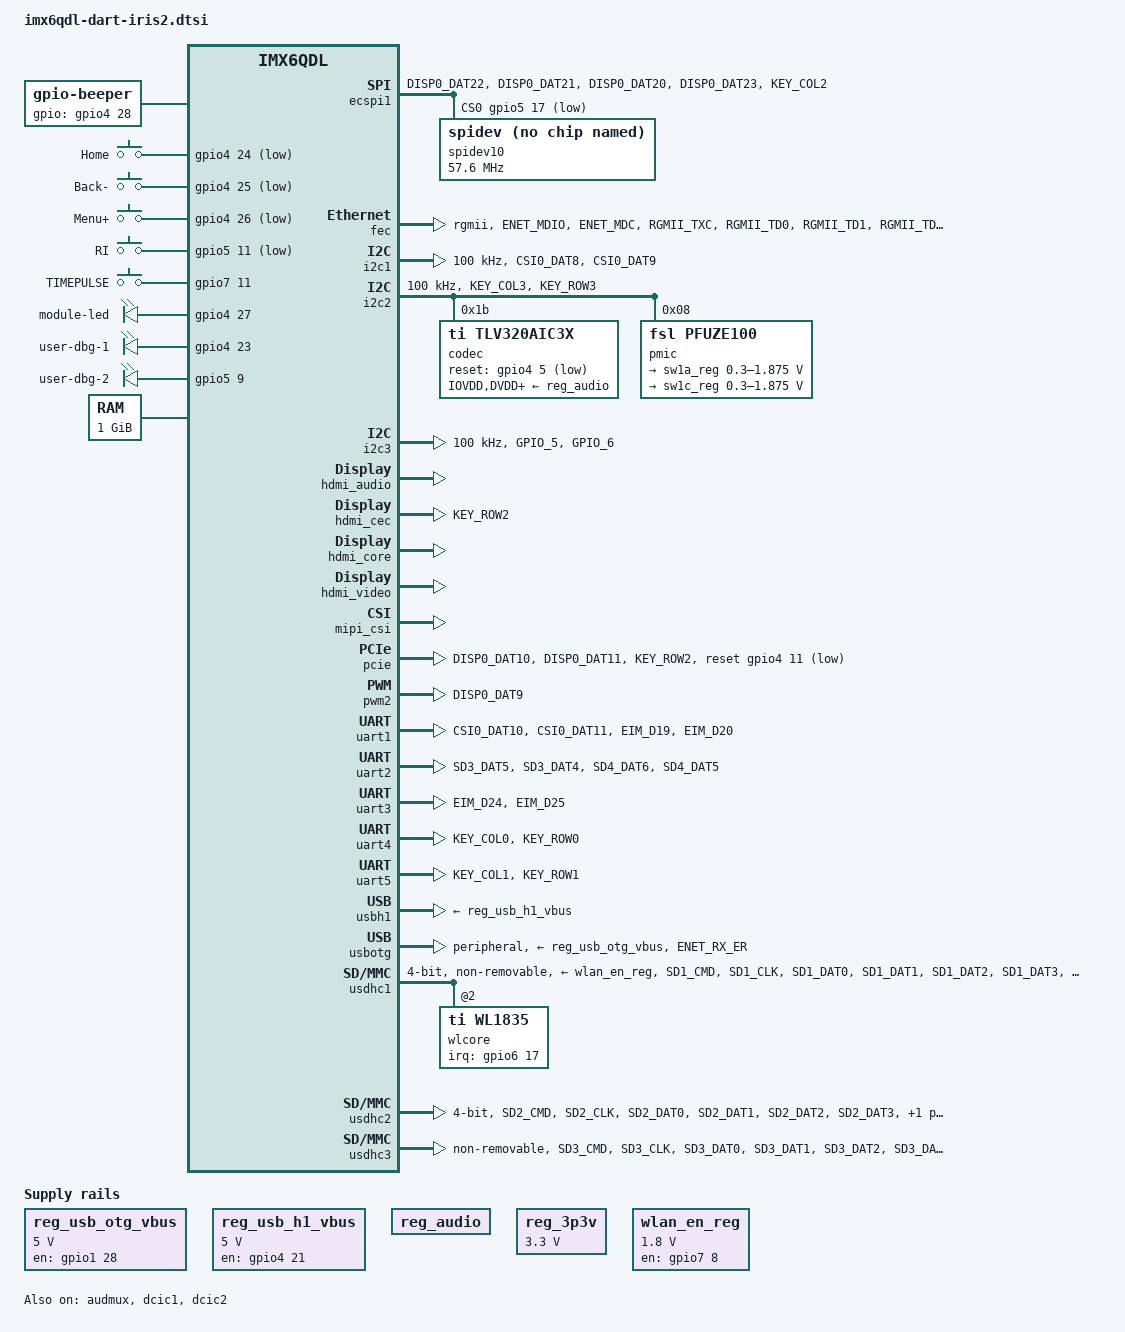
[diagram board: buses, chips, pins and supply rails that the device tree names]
/*
 * Copyright (C) 2015-2017 Variscite Ltd.
 * Copyright (C) 2015-2017 Voipac.
 *
 * The code contained herein is licensed under the GNU General Public
 * License. You may obtain a copy of the GNU General Public License
 * Version 2 or later at the following locations:
 *
 * http://www.opensource.org/licenses/gpl-license.html
 * http://www.gnu.org/copyleft/gpl.html
 */

#include <dt-bindings/gpio/gpio.h>
#include <dt-bindings/input/input.h>

/ {
	aliases {
		mxcfb0 = &mxcfb1;
		mxcfb1 = &mxcfb2;
		mxcfb2 = &mxcfb3;
		mxcfb3 = &mxcfb4;
	};

	chosen {
		stdout-path = &uart1;
	};

	gpio-beeper: {
		compatible = "gpio-beeper";
		pinctrl-names = "default";
		pinctrl-0 = <&pinctrl_gpio_beeper>;
		gpios = <&gpio4 28 GPIO_ACTIVE_HIGH>;
	};

	gpio-keys {
		compatible = "gpio-keys";
		pinctrl-names = "default";
		pinctrl-0 = <&pinctrl_gpio_keys>;

		home {
			label = "Home";
			gpios = <&gpio4 24 GPIO_ACTIVE_LOW>;
			gpio-key,wakeup;
			linux,code = <KEY_HOME>;
		};

		back {
			label = "Back-";
			gpios = <&gpio4 25 GPIO_ACTIVE_LOW>;
			linux,code = <KEY_BACK>;
		};

		menu {
			label = "Menu+";
			gpios = <&gpio4 26 GPIO_ACTIVE_LOW>;
			linux,code = <KEY_MENU>;
		};

		irid_ring {
			label = "RI";
			gpios = <&gpio5 11 GPIO_ACTIVE_LOW>;
			gpio-key,wakeup;
			linux,code = <KEY_PROG1>;
		};

		timepulse {
			label = "TIMEPULSE";
			gpios = <&gpio7 11 GPIO_ACTIVE_HIGH>;
			linux,code = <KEY_TIME>;
		};
	};

	leds {
		compatible = "gpio-leds";
		pinctrl-names = "default";
		pinctrl-0 = <&pinctrl_leds>;

		module-led {
			gpios = <&gpio4 27 GPIO_ACTIVE_HIGH>;
			linux,default-trigger = "heartbeat";
			retain-state-suspended;
		};

		user-dbg-1 {
			gpios = <&gpio4 23 GPIO_ACTIVE_HIGH>;
		};
		user-dbg-2 {
			gpios = <&gpio5 9 GPIO_ACTIVE_HIGH>;
		};
	};

	memory {
		reg = <0x10000000 0x40000000>;
	};

	mxcfb1: fb@0 {
		compatible = "fsl,mxc_sdc_fb";
		disp_dev = "ldb";
		default_bpp = <16>;
		int_clk = <0>;
		late_init = <0>;
		status = "disabled";
	};

	mxcfb2: fb@1 {
		compatible = "fsl,mxc_sdc_fb";
		disp_dev = "hdmi";
		interface_pix_fmt = "RGB24";
		mode_str ="1920x1080M@60";
		default_bpp = <24>;
		int_clk = <0>;
		late_init = <0>;
		status = "disabled";
	};

	mxcfb3: fb@2 {
		compatible = "fsl,mxc_sdc_fb";
		disp_dev = "lcd";
		interface_pix_fmt = "RGB565";
		mode_str ="CLAA-WVGA";
		default_bpp = <16>;
		int_clk = <0>;
		late_init = <0>;
		status = "disabled";
	};

	mxcfb4: fb@3 {
		compatible = "fsl,mxc_sdc_fb";
		disp_dev = "ldb";
		interface_pix_fmt = "RGB666";
		default_bpp = <16>;
		int_clk = <0>;
		late_init = <0>;
		status = "disabled";
	};

	regulators {
		compatible = "simple-bus";
		#address-cells = <1>;
		#size-cells = <0>;

		reg_usb_otg_vbus: regulator@0 {
			compatible = "regulator-fixed";
			reg = <0>;
			regulator-name = "usb_otg_vbus";
			regulator-min-microvolt = <5000000>;
			regulator-max-microvolt = <5000000>;
			regulator-always-on;
			gpio = <&gpio1 28 0>;    /* USB_ETH_PWR_EN; high=+3.3V USB supply on (req'd for Ethernet, USB, peripherals) */
			enable-active-high;

			regulator-state-mem {
				regulator-off-in-suspend;
			};
		};

		reg_usb_h1_vbus: regulator@1 {
			compatible = "regulator-fixed";
			reg = <1>;
			regulator-name = "usb_h1_vbus";
			regulator-min-microvolt = <5000000>;
			regulator-max-microvolt = <5000000>;
			regulator-always-on;
			gpio = <&gpio4 21 0>;    /* 5V_DISABLE; high=+5V supply on (req'd for USB) */
			enable-active-high;

			regulator-state-mem {
				regulator-off-in-suspend;
			};
		};

		reg_audio: regulator@2 {
			compatible = "regulator-fixed";
			reg = <2>;
			regulator-name = "tlv320aic3x-supply";
			enable-active-high;
		};

		reg_3p3v: regulator@3 {
			compatible = "regulator-fixed";
			reg = <3>;
			regulator-name = "3P3V";
			regulator-min-microvolt = <3300000>;
			regulator-max-microvolt = <3300000>;
			regulator-always-on;
		};
	};

	wlan_en_reg: fixedregulator@2 {
		compatible = "regulator-fixed";
		regulator-name = "wlan-en-regulator";
		regulator-min-microvolt = <1800000>;
		regulator-max-microvolt = <1800000>;

		/* WLAN_EN GPIO for this board - Bank5, pin13 */
		gpio = <&gpio7 8 0>;

		/* WLAN card specific delay */
		startup-delay-us = <70000>;
		enable-active-high;
	};

	sound-hdmi {
		compatible = "fsl,imx6q-audio-hdmi",
			     "fsl,imx-audio-hdmi";
		model = "imx-audio-hdmi";
		hdmi-controller = <&hdmi_audio>;
	};

	sound-tlv320aic3x {
		compatible = "fsl,imx-audio-tlv320aic3x";
		model = "tlv320aic3x-audio";
		ssi-controller = <&ssi2>;
		audio-codec = <&codec>;
		audio-routing =
			"Headphone Jack",	"HPLOUT",
			"Headphone Jack",	"HPROUT",
			"Line In Jack",		"LINE1L",
			"Line In Jack",		"LINE1R",
			"Mic Jack",		"DMIC";
		mux-int-port = <2>;
		mux-ext-port = <3>;
	};

	v4l2_cap_0 {
		compatible = "fsl,imx6q-v4l2-capture";
		ipu_id = <0>;
		csi_id = <1>;
		mclk_source = <0>;
		mipi_camera = <1>;
		default_input = <1>;
		status = "okay";
	};

	v4l2_out {
		compatible = "fsl,mxc_v4l2_output";
		status = "okay";
	};
};

&audmux {
	pinctrl-names = "default";
	pinctrl-0 = <&pinctrl_audmux>;
	status = "okay";
};

&ecspi1 {
	fsl,spi-num-chipselects = <2>;
	cs-gpios = <&gpio5 17 GPIO_ACTIVE_LOW>, <&gpio4 10 GPIO_ACTIVE_LOW>;
	pinctrl-names = "default";
	pinctrl-0 = <&pinctrl_ecspi1>;
	status = "okay";

	spidev10: spi@0 {
		compatible = "spidev";
		spi-max-frequency = <57600000>;
		reg = <0>;
	};
};

&fec {
	pinctrl-names = "default";
	pinctrl-0 = <&pinctrl_enet>;
	phy-mode = "rgmii";
	phy-reset-gpios = <&gpio1 25 GPIO_ACTIVE_LOW>;
	fsl,magic-packet;
	status = "okay";
};

&i2c1 {
	clock-frequency = <100000>;
	pinctrl-names = "default";
	pinctrl-0 = <&pinctrl_i2c1>;
	status = "okay";
};

&i2c2 {
	clock-frequency = <100000>;
	pinctrl-names = "default";
	pinctrl-0 = <&pinctrl_i2c2>;
	status = "okay";

	codec: tlv320aic3x@1b {
		compatible = "ti,tlv320aic3x";
		reg = <0x1b>;
		clocks = <&clks 201>;
		clock-names = "clko_clk";
		IOVDD-supply = <&reg_audio>;
		DVDD-supply = <&reg_audio>;
		AVDD-supply = <&reg_audio>;
		DRVDD-supply = <&reg_audio>;
		gpio-reset = <&gpio4 5 1>;
		ai3x-gpio-func = <
			0 /* AIC3X_GPIO1_FUNC_DISABLED */
			5 /* AIC3X_GPIO2_FUNC_DIGITAL_MIC_INPUT */
		>;
	};

	pmic: pfuze100@08 {
		compatible = "fsl,pfuze100";
		reg = <0x08>;

		regulators {
			sw1a_reg: sw1ab {
				regulator-min-microvolt = <300000>;
				regulator-max-microvolt = <1875000>;
				regulator-boot-on;
				regulator-always-on;
				regulator-ramp-delay = <6250>;
			};

			sw1c_reg: sw1c {
				regulator-min-microvolt = <300000>;
				regulator-max-microvolt = <1875000>;
				regulator-boot-on;
				regulator-always-on;
				regulator-ramp-delay = <6250>;
			};
		};
	};
};

&i2c3 {
	clock-frequency = <100000>;
	pinctrl-names = "default";
	pinctrl-0 = <&pinctrl_i2c3>;
	status = "okay";
};

&iomuxc {
	pinctrl-names = "default";
	pinctrl-0 = <&pinctrl_hog>;

	imx6qdl-dart-iris2 {

		pinctrl_hog: hoggrp {
			fsl,pins = <
				/* PMIC INT */
				MX6QDL_PAD_GPIO_17__GPIO7_IO12		0x80000000
				/* for Bluetooth/wifi enable */
				MX6QDL_PAD_SD3_DAT6__GPIO6_IO18		0x0001b0b1
				/* Wifi Slow Clock */
				MX6QDL_PAD_ENET_RXD0__OSC32K_32K_OUT	0x000000b0
				/* Audio Clock */
				MX6QDL_PAD_GPIO_0__CCM_CLKO1		0x000130b0
				/* Camera Clock */
				MX6QDL_PAD_GPIO_3__CCM_CLKO2		0x000130b0
				/* R0+rework for MDIO (disable ECSPI1 pins)
				MX6QDL_PAD_DISP0_DAT20__GPIO5_IO14	0x0001b0b1
				MX6QDL_PAD_DISP0_DAT21__GPIO5_IO15	0x0001b0b1
				MX6QDL_PAD_DISP0_DAT22__GPIO5_IO16	0x0001b0b1
				MX6QDL_PAD_DISP0_DAT23__GPIO5_IO17	0x0001b0b1 */
			>;
		};

		pinctrl_audmux: audmuxgrp {
			fsl,pins = <
				MX6QDL_PAD_CSI0_DAT7__AUD3_RXD		0x000130b0
				MX6QDL_PAD_CSI0_DAT4__AUD3_TXC		0x000130b0
				MX6QDL_PAD_CSI0_DAT5__AUD3_TXD		0x000110b0
				MX6QDL_PAD_CSI0_DAT6__AUD3_TXFS		0x000130b0
			>;
		};

		pinctrl_ecspi1: ecspi1grp {
			fsl,pins = <
				MX6QDL_PAD_DISP0_DAT22__ECSPI1_MISO	0x000100b1
				MX6QDL_PAD_DISP0_DAT21__ECSPI1_MOSI	0x000100b1
				MX6QDL_PAD_DISP0_DAT20__ECSPI1_SCLK	0x000100b1
				MX6QDL_PAD_DISP0_DAT23__ECSPI1_SS0	0x80000000 /* CS0 */
				MX6QDL_PAD_KEY_COL2__ECSPI1_SS1 	0x80000000 /* CS1 (N/C on Iris2) */
			>;
		};

		pinctrl_enet: enetgrp {
			fsl,pins = <
				MX6QDL_PAD_ENET_MDIO__ENET_MDIO		0x0001b0b0
				MX6QDL_PAD_ENET_MDC__ENET_MDC		0x0001b0b0
				MX6QDL_PAD_RGMII_TXC__RGMII_TXC		0x0001b0b0
				MX6QDL_PAD_RGMII_TD0__RGMII_TD0		0x0001b0b0
				MX6QDL_PAD_RGMII_TD1__RGMII_TD1		0x0001b0b0
				MX6QDL_PAD_RGMII_TD2__RGMII_TD2		0x0001b0b0
				MX6QDL_PAD_RGMII_TD3__RGMII_TD3		0x0001b0b0
				MX6QDL_PAD_RGMII_TX_CTL__RGMII_TX_CTL	0x0001b0b0
				MX6QDL_PAD_ENET_REF_CLK__ENET_TX_CLK	0x0001b0b0
				MX6QDL_PAD_RGMII_RXC__RGMII_RXC		0x0001b0b0
				MX6QDL_PAD_RGMII_RD0__RGMII_RD0		0x0001b0b0
				MX6QDL_PAD_RGMII_RD1__RGMII_RD1		0x0001b0b0
				MX6QDL_PAD_RGMII_RD2__RGMII_RD2		0x0001b0b0
				MX6QDL_PAD_RGMII_RD3__RGMII_RD3		0x0001b0b0
				MX6QDL_PAD_RGMII_RX_CTL__RGMII_RX_CTL	0x0001b0b0
				MX6QDL_PAD_ENET_CRS_DV__GPIO1_IO25	0x00000831 /* PHY Reset */
			>;
		};

		pinctrl_gpio_beeper: gpio_beepergrp {
			fsl,pins = <
				MX6QDL_PAD_DISP0_DAT07__GPIO4_IO28	0x0001b0b0
			>;
		};

		pinctrl_gpio_keys: gpio_keysgrp {
			fsl,pins = <
				MX6QDL_PAD_DISP0_DAT03__GPIO4_IO24	0x0001b0b0
				MX6QDL_PAD_DISP0_DAT04__GPIO4_IO25	0x0001b0b0
				MX6QDL_PAD_DISP0_DAT05__GPIO4_IO26	0x0001b0b0
				MX6QDL_PAD_DISP0_DAT17__GPIO5_IO11	0x0001b0b0
				MX6QDL_PAD_GPIO_16__ENET_1588_EVENT2_IN	0x0001b0b0
			>;
		};

		pinctrl_hdmi_cec: hdmi_cecgrp {
			fsl,pins = <
				MX6QDL_PAD_KEY_ROW2__HDMI_TX_CEC_LINE	0x0001f8b0
			>;
		};

		pinctrl_hdmi_hdcp: hdmi_hdcpgrp {
			fsl,pins = <
				MX6QDL_PAD_KEY_COL3__HDMI_TX_DDC_SCL	0x4001b8b1
				MX6QDL_PAD_KEY_ROW3__HDMI_TX_DDC_SDA	0x4001b8b1
			>;
		};

		pinctrl_i2c1: i2c1grp {
			fsl,pins = <
				MX6QDL_PAD_CSI0_DAT8__I2C1_SDA		0x4001b8b1
				MX6QDL_PAD_CSI0_DAT9__I2C1_SCL		0x4001b8b1
			>;
		};

		pinctrl_i2c2: i2c2grp {
			fsl,pins = <
				MX6QDL_PAD_KEY_COL3__I2C2_SCL		0x4001b8b1
				MX6QDL_PAD_KEY_ROW3__I2C2_SDA		0x4001b8b1
			>;
		};

		pinctrl_i2c3: i2c3grp {
			fsl,pins = <
				MX6QDL_PAD_GPIO_5__I2C3_SCL			0x4001b8b1
				MX6QDL_PAD_GPIO_6__I2C3_SDA         0x4001b8b1
			>;
		};

		pinctrl_ipu1_disp: ipu1_dispgrp {
			fsl,pins = <
				MX6QDL_PAD_DI0_DISP_CLK__IPU1_DI0_DISP_CLK	0x00000010
				MX6QDL_PAD_DI0_PIN15__IPU1_DI0_PIN15		0x00000010
				MX6QDL_PAD_DI0_PIN2__IPU1_DI0_PIN02		0x00000010
				MX6QDL_PAD_DI0_PIN3__IPU1_DI0_PIN03		0x00000010
				MX6QDL_PAD_DI0_PIN4__IPU1_DI0_PIN04		0x80000000
				MX6QDL_PAD_DISP0_DAT0__IPU1_DISP0_DATA00	0x00000010
				MX6QDL_PAD_DISP0_DAT1__IPU1_DISP0_DATA01	0x00000010
				MX6QDL_PAD_DISP0_DAT2__IPU1_DISP0_DATA02	0x00000010
				MX6QDL_PAD_DISP0_DAT3__IPU1_DISP0_DATA03	0x00000010
				MX6QDL_PAD_DISP0_DAT4__IPU1_DISP0_DATA04	0x00000010
				MX6QDL_PAD_DISP0_DAT5__IPU1_DISP0_DATA05	0x00000010
				MX6QDL_PAD_DISP0_DAT6__IPU1_DISP0_DATA06	0x00000010
				MX6QDL_PAD_DISP0_DAT7__IPU1_DISP0_DATA07	0x00000010
				MX6QDL_PAD_DISP0_DAT8__IPU1_DISP0_DATA08	0x00000010
				MX6QDL_PAD_DISP0_DAT9__IPU1_DISP0_DATA09	0x00000010
				MX6QDL_PAD_DISP0_DAT10__IPU1_DISP0_DATA10	0x00000010
				MX6QDL_PAD_DISP0_DAT11__IPU1_DISP0_DATA11	0x00000010
				MX6QDL_PAD_DISP0_DAT12__IPU1_DISP0_DATA12	0x00000010
				MX6QDL_PAD_DISP0_DAT13__IPU1_DISP0_DATA13	0x00000010
				MX6QDL_PAD_DISP0_DAT14__IPU1_DISP0_DATA14	0x00000010
				MX6QDL_PAD_DISP0_DAT15__IPU1_DISP0_DATA15	0x00000010
				MX6QDL_PAD_DISP0_DAT16__IPU1_DISP0_DATA16	0x00000010
				MX6QDL_PAD_DISP0_DAT17__IPU1_DISP0_DATA17	0x00000010
				MX6QDL_PAD_DISP0_DAT18__IPU1_DISP0_DATA18	0x00000010
				MX6QDL_PAD_DISP0_DAT19__IPU1_DISP0_DATA19	0x00000010
				MX6QDL_PAD_DISP0_DAT20__IPU1_DISP0_DATA20	0x00000010
				MX6QDL_PAD_DISP0_DAT21__IPU1_DISP0_DATA21	0x00000010
				MX6QDL_PAD_DISP0_DAT22__IPU1_DISP0_DATA22	0x00000010
				MX6QDL_PAD_DISP0_DAT23__IPU1_DISP0_DATA23	0x00000010
			>;
		};

		pinctrl_leds: ledsgrp {
			fsl,pins = <
				MX6QDL_PAD_DISP0_DAT06__GPIO4_IO27	0x00017059 /* Module LED */
				MX6QDL_PAD_DISP0_DAT02__GPIO4_IO23	0x00000831 /* DBG1 Open Drain Output */
				MX6QDL_PAD_DISP0_DAT15__GPIO5_IO09	0x00000831 /* DBG2 Open Drain Output */
			>;
		};

		pinctrl_ov5647_mipi: ov5647_mipigrp {
			fsl,pins = <
				MX6QDL_PAD_ENET_TX_EN__GPIO1_IO28	0x00017059 /* +3V3_USB Enable */
				MX6QDL_PAD_DISP0_DAT1__GPIO4_IO22	0x00013059 /* RPI Camera LED */
			>;
		};

		pinctrl_pcie: pciegrp {
			fsl,pins = <
				MX6QDL_PAD_DISP0_DAT10__IPU2_DISP0_DATA10  0x00017059 /* Wake */
				MX6QDL_PAD_DISP0_DAT11__IPU2_DISP0_DATA11  0x000030B1 /* Wdis */
				MX6QDL_PAD_KEY_ROW2__GPIO4_IO11            0x0000d038 /* Reset */
			>;
		};

		pinctrl_pwm2: pwm2grp {
			fsl,pins = <
				MX6QDL_PAD_DISP0_DAT9__PWM2_OUT		0x0001b0b1
			>;
		};

		/* Linux Console */
		pinctrl_uart1: uart1grp {
			fsl,pins = <
				MX6QDL_PAD_CSI0_DAT10__UART1_TX_DATA	0x0001b0b1
				MX6QDL_PAD_CSI0_DAT11__UART1_RX_DATA	0x0001b0b1
				MX6QDL_PAD_EIM_D19__UART1_CTS_B		0x0001b0b1
				MX6QDL_PAD_EIM_D20__UART1_RTS_B		0x0001b0b1
			>;
		};

		/* UART2 (Spare) */
		pinctrl_uart2: uart2grp {
			fsl,pins = <
				MX6QDL_PAD_GPIO_8__UART2_RX_DATA	0x0001b0b1
				MX6QDL_PAD_GPIO_7__UART2_TX_DATA	0x0001b0b1
			>;
		};

		/* Variscite Bluetooth */
		pinctrl_uart2_bt: uart2_btgrp {
			fsl,pins = <
				MX6QDL_PAD_SD3_DAT5__UART2_TX_DATA	0x0001b0b1
				MX6QDL_PAD_SD3_DAT4__UART2_RX_DATA	0x0001b0b1
				MX6QDL_PAD_SD4_DAT6__UART2_CTS_B	0x0001b0b1
				MX6QDL_PAD_SD4_DAT5__UART2_RTS_B	0x0001b0b1
			>;
		};

		pinctrl_uart3: uart3grp {
			fsl,pins = <
				MX6QDL_PAD_EIM_D24__UART3_TX_DATA	0x0001b0b1
				MX6QDL_PAD_EIM_D25__UART3_RX_DATA	0x0001b0b1
			>;
		};

		pinctrl_uart4: uart4grp {
			fsl,pins = <
				MX6QDL_PAD_KEY_COL0__UART4_TX_DATA	0x0001b0b1
				MX6QDL_PAD_KEY_ROW0__UART4_RX_DATA	0x0001b0b1
			>;
		};

		pinctrl_uart5: uart5grp {
			fsl,pins = <
				MX6QDL_PAD_KEY_COL1__UART5_TX_DATA	0x0001b0b1
				MX6QDL_PAD_KEY_ROW1__UART5_RX_DATA	0x0001b0b1
			>;
		};

		pinctrl_usbotg: usbotggrp {
			fsl,pins = <
				MX6QDL_PAD_ENET_RX_ER__USB_OTG_ID   0x00017059
			>;
		};

		pinctrl_usdhc1: usdhc1grp {
			fsl,pins = <
				MX6QDL_PAD_SD1_CMD__SD1_CMD		0x00017071
				MX6QDL_PAD_SD1_CLK__SD1_CLK		0x00010071
				MX6QDL_PAD_SD1_DAT0__SD1_DATA0		0x00017071
				MX6QDL_PAD_SD1_DAT1__SD1_DATA1		0x00017071
				MX6QDL_PAD_SD1_DAT2__SD1_DATA2		0x00017071
				MX6QDL_PAD_SD1_DAT3__SD1_DATA3		0x00017071
				MX6QDL_PAD_SD3_DAT7__GPIO6_IO17		0x00017071	/* reserve two pins from sd1 for wl8 gpio, this is pulled low at reset for WL_EN */
				MX6QDL_PAD_SD3_RST__GPIO7_IO08		0x00017071	/* this is for wl_irq which driver will configure as an input with a pull down */
			>;
		};

		pinctrl_usdhc1_100mhz: usdhc1_100mhzgrp {
			fsl,pins = <
				MX6QDL_PAD_SD1_CMD__SD1_CMD		0x000170B9
				MX6QDL_PAD_SD1_CLK__SD1_CLK		0x000100B9
				MX6QDL_PAD_SD1_DAT0__SD1_DATA0		0x000170B9
				MX6QDL_PAD_SD1_DAT1__SD1_DATA1		0x000170B9
				MX6QDL_PAD_SD1_DAT2__SD1_DATA2		0x000170B9
				MX6QDL_PAD_SD1_DAT3__SD1_DATA3		0x000170B9
			>;
		};

		pinctrl_usdhc1_200mhz: usdhc1_200mhzgrp {
			fsl,pins = <
				MX6QDL_PAD_SD1_CMD__SD1_CMD		0x000170F9
				MX6QDL_PAD_SD1_CLK__SD1_CLK		0x000100F9
				MX6QDL_PAD_SD1_DAT0__SD1_DATA0		0x000170F9
				MX6QDL_PAD_SD1_DAT1__SD1_DATA1		0x000170F9
				MX6QDL_PAD_SD1_DAT2__SD1_DATA2		0x000170F9
				MX6QDL_PAD_SD1_DAT3__SD1_DATA3		0x000170F9
			>;
		};

		pinctrl_usdhc2: usdhc2grp {
			fsl,pins = <
				MX6QDL_PAD_SD2_CMD__SD2_CMD		0x00017059
				MX6QDL_PAD_SD2_CLK__SD2_CLK		0x00010059
				MX6QDL_PAD_SD2_DAT0__SD2_DATA0		0x00017059
				MX6QDL_PAD_SD2_DAT1__SD2_DATA1		0x00017059
				MX6QDL_PAD_SD2_DAT2__SD2_DATA2		0x00017059
				MX6QDL_PAD_SD2_DAT3__SD2_DATA3		0x00017059
			>;
		};

		pinctrl_usdhc3: usdhc3grp {
			fsl,pins = <
				MX6QDL_PAD_SD3_CMD__SD3_CMD		0x00017059
				MX6QDL_PAD_SD3_CLK__SD3_CLK		0x00010059
				MX6QDL_PAD_SD3_DAT0__SD3_DATA0		0x00017059
				MX6QDL_PAD_SD3_DAT1__SD3_DATA1		0x00017059
				MX6QDL_PAD_SD3_DAT2__SD3_DATA2		0x00017059
				MX6QDL_PAD_SD3_DAT3__SD3_DATA3		0x00017059
			>;
		};

		pinctrl_usdhc3_100mhz: usdhc3_100mhzgrp {
			fsl,pins = <
				MX6QDL_PAD_SD3_CMD__SD3_CMD		0x000170B9
				MX6QDL_PAD_SD3_CLK__SD3_CLK		0x000100B9
				MX6QDL_PAD_SD3_DAT0__SD3_DATA0		0x000170B9
				MX6QDL_PAD_SD3_DAT1__SD3_DATA1		0x000170B9
				MX6QDL_PAD_SD3_DAT2__SD3_DATA2		0x000170B9
				MX6QDL_PAD_SD3_DAT3__SD3_DATA3		0x000170B9
			>;
		};

		pinctrl_usdhc3_200mhz: usdhc3_200mhzgrp {
			fsl,pins = <
				MX6QDL_PAD_SD3_CMD__SD3_CMD		0x000170F9
				MX6QDL_PAD_SD3_CLK__SD3_CLK		0x000100F9
				MX6QDL_PAD_SD3_DAT0__SD3_DATA0		0x000170F9
				MX6QDL_PAD_SD3_DAT1__SD3_DATA1		0x000170F9
				MX6QDL_PAD_SD3_DAT2__SD3_DATA2		0x000170F9
				MX6QDL_PAD_SD3_DAT3__SD3_DATA3		0x000170F9
			>;
		};
	};
};

&dcic1 {
	dcic_id = <0>;
	dcic_mux = "dcic-hdmi";
	status = "okay";
};

&dcic2 {
	dcic_id = <1>;
	dcic_mux = "dcic-lvds1";
	status = "okay";
};

&gpc {
	/* use ldo-bypass, u-boot will check it and configure */
	fsl,ldo-bypass = <1>;
};

&hdmi_audio {
	status = "okay";
};

&hdmi_cec {
	pinctrl-names = "default";
	pinctrl-0 = <&pinctrl_hdmi_cec>;
	status = "okay";
};

&hdmi_core {
	ipu_id = <0>;
	disp_id = <0>;
	status = "okay";
};

&hdmi_video {
	fsl,phy_reg_vlev = <0x0294>;
	fsl,phy_reg_cksymtx = <0x800d>;
	status = "okay";
};

&ldb {
	status = "disabled";
};

&mipi_csi {
	ipu_id = <0>;
	csi_id = <1>;
	v_channel = <0>;           /* NB: imx6qdl-openrex.dtsi is on <1> */
	lanes = <2>;
	/* mipi_dphy_clk = <0x28>; /* NB: imx6qdl-openrex.dtsi has this */
	status = "okay";
};

&mipi_dsi {
	dev_id = <0>;
	disp_id = <1>;
	status = "disabled";
};

&pcie {
	pinctrl-names = "default";
	pinctrl-0 = <&pinctrl_pcie>;
	reset-gpio = <&gpio4 11 GPIO_ACTIVE_LOW>;
	wake-up-gpio = <&gpio4 31 GPIO_ACTIVE_HIGH>;
	disable-gpio = <&gpio5 5 GPIO_ACTIVE_LOW>;
	status = "okay";
};

/* GPIO_1 */
&pwm2 {
	pinctrl-names = "default";
	pinctrl-0 = <&pinctrl_pwm2>;
	status = "okay";
};

&reg_arm {
	vin-supply = <&sw1a_reg>;
};

&reg_pu {
	vin-supply = <&sw1c_reg>;
};

&reg_soc {
	vin-supply = <&sw1c_reg>;
};

/* ttymxc0 UART (Console) */
&uart1 {
	pinctrl-names = "default";
	pinctrl-0 = <&pinctrl_uart1>;
	fsl,uart-has-rtscts;
	status = "okay";
};

/* Bluetooth Uart */
&uart2 {
	pinctrl-names = "default";
	pinctrl-0 = <&pinctrl_uart2_bt>;
	fsl,uart-has-rtscts;
	status = "okay";
};

/* ttymxc2 UART (PDDL) */
&uart3 {
	pinctrl-names = "default";
	pinctrl-0 = <&pinctrl_uart3>;
	status = "okay";
};

/* ttymxc3 UART (Pixhawk) */
&uart4 {
	pinctrl-names = "default";
	pinctrl-0 = <&pinctrl_uart4>;
	status = "okay";
};

/* ttymxc4 UART (Iridium) */
&uart5 {
	pinctrl-names = "default";
	pinctrl-0 = <&pinctrl_uart5>;
	status = "okay";
};

&usbh1 {
	vbus-supply = <&reg_usb_h1_vbus>;
	disable-over-current;
	status = "okay";
};

&usbotg {
	vbus-supply = <&reg_usb_otg_vbus>;
	pinctrl-names = "default";
	pinctrl-0 = <&pinctrl_usbotg>;
	disable-over-current;
	/* dr_mode: One of "host", "peripheral" or "otg". Defaults to "otg" */
	dr_mode = "peripheral";
	srp-disable;
	hnp-disable;
	adp-disable;
	status = "okay";
};

&usdhc1 {	/* uSDHC1, TiWi wl1271 7 Wilink8 WL18xx*/
	pinctrl-names = "default", "state_100mhz", "state_200mhz";
	pinctrl-0 = <&pinctrl_usdhc1>;
	pinctrl-1 = <&pinctrl_usdhc1_100mhz>;
	pinctrl-2 = <&pinctrl_usdhc1_200mhz>;
	keep-power-in-suspend;
	enable-sdio-wakeup;
	vmmc-supply = <&wlan_en_reg>;
	bus-width = <4>;
	non-removable;
	cap-power-off-card;
	status = "okay";
	#address-cells = <1>;
	#size-cells = <0>;
	wlcore: wlcore@0 {
		compatible = "ti,wl1835";
		reg = <2>;
		interrupt-parent = <&gpio6>;
		interrupts = <17 IRQ_TYPE_EDGE_RISING>;

		/* if a 12xx card is there, configure the clock to WL12XX_REFCLOCK_38_XTAL */
		ref-clock-frequency = <38400000>;
	};
};

&usdhc2 {	/* uSDHC2, MMC/SD card */
	pinctrl-names = "default";
	pinctrl-0 = <&pinctrl_usdhc2>;
	bus-width = <4>;
	cd-gpios = <&gpio1 4 GPIO_ACTIVE_HIGH>;
	no-1-8-v;
	keep-power-in-suspend;
	enable-sdio-wakeup;
	status = "okay";
};

&usdhc3 {	/* uSDHC3, eMMC */
	pinctrl-names = "default";
	pinctrl-0 = <&pinctrl_usdhc3>;
	non-removable;
	keep-power-in-suspend;
	enable-sdio-wakeup;
	status = "okay";
};
